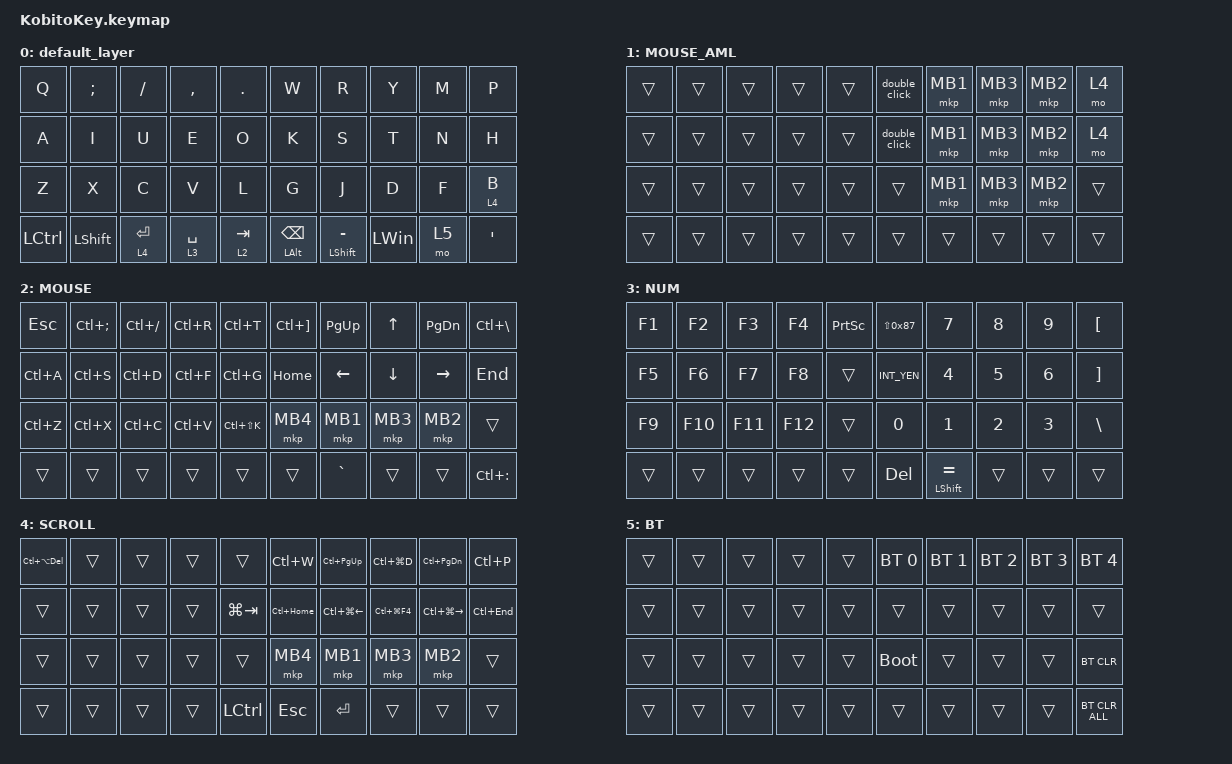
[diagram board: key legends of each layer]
#include <input/processors.dtsi>
#include <behaviors.dtsi>
#include <dt-bindings/zmk/bt.h>
#include <dt-bindings/zmk/keys.h>
#include <dt-bindings/zmk/pointing.h>

&mt {
    flavor = "balanced";
    quick-tap-ms = <200>; // TAP & HOLD でTAP側のキーが長押し扱いになる設定
};

&lt {
    quick-tap-ms = <200>; // TAP & HOLD でTAP側のキーが長押し扱いになる設定
};

/ {
    macros {
        double_click: double_click {
            compatible = "zmk,behavior-macro";
            #binding-cells = <0>;
            bindings = <&mkp MB1 &mkp MB1>;
            label = "DOUBLE_CLICK";
        };
    };

    combos {
        compatible = "zmk,combos";

        left_click {
            bindings = <&mkp MB1>;
            key-positions = <16 17>;
        };

        right_click {
            bindings = <&mkp MB2>;
            key-positions = <17 18>;
        };

        middle_click {
            bindings = <&mkp MB3>;
            key-positions = <16 18>;
        };

        han_zen {
            bindings = <&kp GRAVE>;
            key-positions = <1 2>;
        };

        shift_tab {
            bindings = <&kp LS(TAB)>;
            key-positions = <21 22>;
        };

        tab {
            bindings = <&kp TAB>;
            key-positions = <22 23>;
        };

        space {
            bindings = <&kp SPACE>;
            key-positions = <11 12 13>;
        };

        enter {
            bindings = <&kp ENTER>;
            key-positions = <17 18 16>;
        };
    };

    keymap {
        compatible = "zmk,keymap";

        default_layer {
            bindings = <
&kp Q      &kp SEMICOLON  &kp SLASH    &kp COMMA    &kp PERIOD  &kp W               &kp R            &kp Y         &kp M  &kp P
&kp A      &kp I          &kp U        &kp E        &kp O       &kp K               &kp S            &kp T         &kp N  &kp H
&kp Z      &kp X          &kp C        &kp V        &kp L       &kp G               &kp J            &kp D         &kp F  &lt 4 B
&kp LCTRL  &kp LSHFT      &lt 4 ENTER  &lt 3 SPACE  &lt 2 TAB   &mt LALT BACKSPACE  &mt LSHFT MINUS  &kp LEFT_WIN  &mo 5  &kp SQT
            >;
        };

        MOUSE_AML {
            bindings = <
&trans  &trans  &trans  &trans  &trans  &double_click  &mkp MB1  &mkp MB3  &mkp MB2  &mo 4
&trans  &trans  &trans  &trans  &trans  &double_click  &mkp MB1  &mkp MB3  &mkp MB2  &mo 4
&trans  &trans  &trans  &trans  &trans  &trans         &mkp MB1  &mkp MB3  &mkp MB2  &trans
&trans  &trans  &trans  &trans  &trans  &trans         &trans    &trans    &trans    &trans
            >;
        };

        MOUSE {
            bindings = <
&kp ESCAPE  &kp LC(SEMICOLON)  &kp LC(SLASH)  &kp LC(R)  &kp LC(T)      &kp LC(RIGHT_BRACKET)  &kp PAGE_UP  &kp UP    &kp PAGE_DOWN  &kp LC(BSLH)
&kp LC(A)   &kp LC(S)          &kp LC(D)      &kp LC(F)  &kp LC(G)      &kp HOME               &kp LEFT     &kp DOWN  &kp RIGHT      &kp END
&kp LC(Z)   &kp LC(X)          &kp LC(C)      &kp LC(V)  &kp LC(LS(K))  &mkp MB4               &mkp MB1     &mkp MB3  &mkp MB2       &trans
&trans      &trans             &trans         &trans     &trans         &trans                 &kp GRAVE    &trans    &trans         &kp LC(COLON)
            >;
        };

        NUM {
            bindings = <
&kp F1  &kp F2   &kp F3   &kp F4   &kp PSCRN  &kp LS(0x87)  &kp N7                &kp N8  &kp N9  &kp LEFT_BRACKET
&kp F5  &kp F6   &kp F7   &kp F8   &trans     &kp INT_YEN   &kp N4                &kp N5  &kp N6  &kp RIGHT_BRACKET
&kp F9  &kp F10  &kp F11  &kp F12  &trans     &kp N0        &kp N1                &kp N2  &kp N3  &kp BSLH
&trans  &trans   &trans   &trans   &trans     &kp DEL       &mt LEFT_SHIFT EQUAL  &trans  &trans  &trans
            >;
        };

        SCROLL {
            bindings = <
&kp LC(LA(DELETE))  &trans  &trans  &trans  &trans       &kp LC(W)     &kp LC(PG_UP)     &kp LC(LG(D))   &kp LC(PG_DN)      &kp LC(P)
&trans              &trans  &trans  &trans  &kp LG(TAB)  &kp LC(HOME)  &kp LC(LG(LEFT))  &kp LC(LG(F4))  &kp LC(LG(RIGHT))  &kp LC(END)
&trans              &trans  &trans  &trans  &trans       &mkp MB4      &mkp MB1          &mkp MB3        &mkp MB2           &trans
&trans              &trans  &trans  &trans  &kp LCTRL    &kp ESC       &kp ENTER         &trans          &trans             &trans
            >;
        };

        BT {
            bindings = <
&trans  &trans  &trans  &trans  &trans  &bt BT_SEL 0  &bt BT_SEL 1  &bt BT_SEL 2  &bt BT_SEL 3  &bt BT_SEL 4
&trans  &trans  &trans  &trans  &trans  &trans        &trans        &trans        &trans        &trans
&trans  &trans  &trans  &trans  &trans  &bootloader   &trans        &trans        &trans        &bt BT_CLR
&trans  &trans  &trans  &trans  &trans  &trans        &trans        &trans        &trans        &bt BT_CLR_ALL
            >;
        };
    };
};
